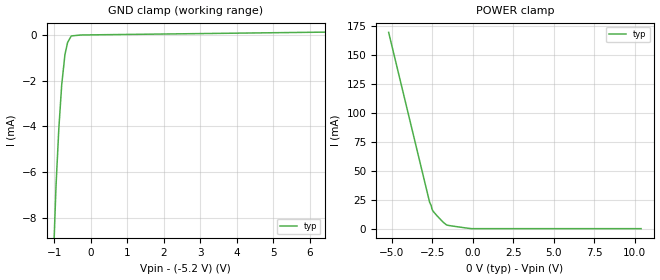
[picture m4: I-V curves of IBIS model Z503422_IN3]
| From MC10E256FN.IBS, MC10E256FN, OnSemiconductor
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| (C) COPYRIGHT 1993-2000
| MENTOR GRAPHICS CORPORATION
| ICX STANDARD LIBRARY, ICX PROJECT MODELING,
| ICX CUSTOM MODELING, ICX VENDOR MODEL
| ALL RIGHTS RESERVED.
| THE FOLLOWING ARE TRADEMARKS OR SERVICE MARKS OF
| MENTOR GRAPHICS CORPORATION:ICX (R), ICX STANDARD
| LIBRARY(R), ICX PROJECT MODELING(R), ICX CUSTOM
| MODELING(R), qualityIBIS(TM), MODELVIEWER(TM),
| AND MODELEDITOR(TM)
| ALL COPIES OF SOFTWARE, INCLUDING BUT NOT LIMITED TO
| ANY MODIFICATIONS, ENHANCEMENTS OR DERIVATIVE WORKS,
| MUST CONTAIN ALL MENTOR GRAPHICS CORPORATION'S
| NOTICES AND LEGENDS, INCLUDING THOSE EMBEDDED IN
| SOFTWARE AND THOSE AFFIXED TO SOFTWARE MEDIUM
| AND CONTAINER, AS RECEIVED FROM MENTOR GRAPHICS
| CORPORATION.
| Model Application Version 1.89 2/18/99.
[Model] Z503422_IN3
Model_type Input_ECL
Vinl = -1.480V
Vinh = -1.130V
C_comp 4.000pF NA NA
| variable typ   min   max
[Voltage Range] -5.200V NA NA
[GND Clamp Reference] -5.200V NA NA
[POWER Clamp Reference] 0.000V NA NA
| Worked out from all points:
|   GND clamp passes 1 mA (typ) near -0.72 V on its own axis
[GND Clamp]
-5.2V     -275.5mA   NA         NA
-1.086V   -12.7mA    NA         NA
-950mV    -6.59mA    NA         NA
-873mV    -4.085mA   NA         NA
-795mV    -2.191mA   NA         NA
-707mV    -873.6uA   NA         NA
-634mV    -334.3uA   NA         NA
-533mV    -51.05uA   NA         NA
-266.5mV  -9.155uA   NA         NA
10.4V     190.7uA    NA         NA
[POWER Clamp]
-5.2V     169.7mA    NA         NA
-2.671V   22.94mA    NA         NA
-2.577V   20.11mA    NA         NA
-2.515V   16.71mA    NA         NA
-2.449V   14.95mA    NA         NA
-1.668V   3.664mA    NA         NA
-75.55mV  0A         NA         NA
10.4V     0A         NA         NA
